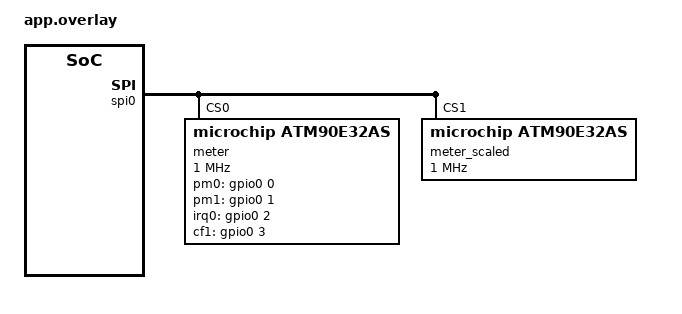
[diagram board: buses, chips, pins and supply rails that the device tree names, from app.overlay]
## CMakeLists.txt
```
# Copyright (c) 2025 Pedro Ramos
# SPDX-License-Identifier: Apache-2.0

cmake_minimum_required(VERSION 3.28.0)
find_package(Zephyr REQUIRED HINTS $ENV{ZEPHYR_BASE})
project(atm90e32as)

target_sources(app PRIVATE src/main.c)
```

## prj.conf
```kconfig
CONFIG_ZTEST=y
CONFIG_EMUL=y
CONFIG_GPIO=y
CONFIG_SPI=y
CONFIG_ENERGY_METER=y
CONFIG_LOG=y
```

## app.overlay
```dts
/*
 * Copyright (c) 2025 Pedro Ramos
 *
 * SPDX-License-Identifier: Apache-2.0
 */

#include <zephyr/dt-bindings/gpio/gpio.h>

&spi0 {
	meter: atm90e32as@0 {
		compatible = "microchip,atm90e32as";
		reg = <0>;
		spi-max-frequency = <1000000>;
		meter-constant = <3200>;
		mmode0 = <0x0185>;
		f0 = <6000>;
		p-start-th = <0x0123>;
		u-gain = <0x8000 0x7000 0x6000>;
		i-gain = <0x8000 0x8000 0x4000>;
		emm-int-en = <0x0001 0x0002>;
		pm0-gpios = <&gpio0 0 GPIO_ACTIVE_HIGH>;
		pm1-gpios = <&gpio0 1 GPIO_ACTIVE_HIGH>;
		irq0-gpios = <&gpio0 2 GPIO_ACTIVE_HIGH>;
		cf1-gpios = <&gpio0 3 GPIO_ACTIVE_HIGH>;
	};

	/* Calibrated to read 40% of the actual current */
	meter_scaled: atm90e32as@1 {
		compatible = "microchip,atm90e32as";
		reg = <1>;
		spi-max-frequency = <1000000>;
		current-scale = <5 2>;
	};
};
```

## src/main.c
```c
/*
 * Copyright (c) 2025 Pedro Ramos
 *
 * SPDX-License-Identifier: Apache-2.0
 */

#include <string.h>

#include <zephyr/device.h>
#include <zephyr/drivers/emul.h>
#include <zephyr/drivers/energy_meter.h>
#include <zephyr/drivers/energy_meter/atm90e32as.h>
#include <zephyr/drivers/gpio.h>
#include <zephyr/drivers/gpio/gpio_emul.h>
#include <zephyr/pm/device.h>
#include <zephyr/ztest.h>

#ifdef CONFIG_SHELL_BACKEND_DUMMY
#include <zephyr/shell/shell.h>
#include <zephyr/shell/shell_dummy.h>
#endif

#include "atm90e32as.h"
#include "emul_atm90e32as.h"

#define METER_NODE DT_NODELABEL(meter)
#define GPIO_NODE  DT_NODELABEL(gpio0)

#define PM0_PIN  DT_GPIO_PIN(METER_NODE, pm0_gpios)
#define PM1_PIN  DT_GPIO_PIN(METER_NODE, pm1_gpios)
#define IRQ0_PIN DT_GPIO_PIN(METER_NODE, irq0_gpios)
#define CF1_PIN  DT_GPIO_PIN(METER_NODE, cf1_gpios)

#define LINE_A     ENERGY_METER_LINE_A
#define LINE_B     ENERGY_METER_LINE_B
#define LINE_C     ENERGY_METER_LINE_C
#define LINE_N     ENERGY_METER_LINE_N
#define LINE_TOTAL ENERGY_METER_LINE_TOTAL

static const struct device *const meter = DEVICE_DT_GET(METER_NODE);
static const struct emul *const emul = EMUL_DT_GET(METER_NODE);

static int64_t get(uint8_t quantity, uint8_t line)
{
	int64_t value;

	zassert_ok(energy_meter_get_one(meter, quantity, line, &value), "quantity %u line %u",
		   quantity, line);

	return value;
}

ZTEST(atm90e32as, test_init_applies_devicetree)
{
	zassert_true(atm90e32as_emul_reset_count(emul) >= 1U, "no soft reset at init");
	zassert_equal(atm90e32as_emul_get_reg(emul, ATM90E32AS_REG_MMODE0), 0x0185);
	zassert_equal(atm90e32as_emul_get_reg(emul, ATM90E32AS_REG_F0), 6000);
	zassert_equal(atm90e32as_emul_get_reg(emul, ATM90E32AS_REG_T0), 25);
	zassert_equal(atm90e32as_emul_get_reg(emul, ATM90E32AS_REG_P_START_TH), 0x0123);
	zassert_equal(atm90e32as_emul_get_reg(emul, ATM90E32AS_REG_PL_CONST_H), 0x0861);
	zassert_equal(atm90e32as_emul_get_reg(emul, ATM90E32AS_REG_PL_CONST_L), 0xC468);
	zassert_equal(atm90e32as_emul_get_reg(emul, ATM90E32AS_REG_U_GAIN_A), 0x8000);
	zassert_equal(
		atm90e32as_emul_get_reg(emul, ATM90E32AS_REG_U_GAIN_A + ATM90E32AS_MEAS_CAL_STRIDE),
		0x7000);
	zassert_equal(atm90e32as_emul_get_reg(emul, ATM90E32AS_REG_I_GAIN_A +
							    2 * ATM90E32AS_MEAS_CAL_STRIDE),
		      0x4000);
	zassert_equal(atm90e32as_emul_get_reg(emul, ATM90E32AS_REG_EMM_INT_EN0), 0x0001);
	zassert_equal(atm90e32as_emul_get_reg(emul, ATM90E32AS_REG_EMM_INT_EN1), 0x0002);
	zassert_equal(atm90e32as_emul_get_reg(emul, ATM90E32AS_REG_METER_EN),
		      ATM90E32AS_METER_EN_ON, "metering not enabled");
	zassert_equal(atm90e32as_emul_get_reg(emul, ATM90E32AS_REG_CFG_REG_ACC_EN),
		      ATM90E32AS_CFG_ACCESS_DISABLE, "configuration access left open");
}

ZTEST(atm90e32as, test_info)
{
	struct energy_meter_info info;

	zassert_ok(energy_meter_get_info(meter, &info));
	zassert_equal(info.phases, 3);

	for (uint8_t line = LINE_A; line <= LINE_C; line++) {
		zassert_true((info.quantities[line] & BIT(ENERGY_METER_VOLTAGE)) != 0U);
		zassert_true((info.quantities[line] & BIT(ENERGY_METER_PHASE_ANGLE)) != 0U);
		zassert_true((info.quantities[line] & BIT(ENERGY_METER_APPARENT_ENERGY)) != 0U);
	}

	zassert_equal(info.quantities[LINE_N], BIT(ENERGY_METER_CURRENT));
	zassert_true((info.quantities[LINE_TOTAL] & BIT(ENERGY_METER_FREQUENCY)) != 0U);
	zassert_true((info.quantities[LINE_TOTAL] & BIT(ENERGY_METER_TEMPERATURE)) != 0U);
	zassert_true((info.quantities[LINE_TOTAL] & BIT(ENERGY_METER_VOLTAGE)) == 0U);
	zassert_true((info.quantities[LINE_A] & BIT(ENERGY_METER_VOLTAGE_LL)) == 0U);
}

ZTEST(atm90e32as, test_rms_voltage_and_current)
{
	/* 230.12 V plus 0x80 / 256 of 0.01 V */
	atm90e32as_emul_set_reg(emul, ATM90E32AS_REG_URMS_A, 23012);
	atm90e32as_emul_set_reg(emul, ATM90E32AS_REG_URMS_A_LSB, 0x8000);
	zassert_equal(get(ENERGY_METER_VOLTAGE, LINE_A), 230125000);

	atm90e32as_emul_set_reg(emul, ATM90E32AS_REG_URMS_A + 2, 21000);
	atm90e32as_emul_set_reg(emul, ATM90E32AS_REG_URMS_A_LSB + 2, 0);
	zassert_equal(get(ENERGY_METER_VOLTAGE, LINE_C), 210000000);

	/* 5.123 A plus 0x40 / 256 of 0.001 A */
	atm90e32as_emul_set_reg(emul, ATM90E32AS_REG_IRMS_A + 1, 5123);
	atm90e32as_emul_set_reg(emul, ATM90E32AS_REG_IRMS_A_LSB + 1, 0x4000);
	zassert_equal(get(ENERGY_METER_CURRENT, LINE_B), 5123250);

	/* The neutral current has no lower word */
	atm90e32as_emul_set_reg(emul, ATM90E32AS_REG_IRMS_N, 1500);
	zassert_equal(get(ENERGY_METER_CURRENT, LINE_N), 1500000);
}

ZTEST(atm90e32as, test_power_is_signed_32_bit)
{
	/* 0x00010000 * 0.00032 W */
	atm90e32as_emul_set_reg(emul, ATM90E32AS_REG_PMEAN_T, 0x0001);
	atm90e32as_emul_set_reg(emul, ATM90E32AS_REG_PMEAN_T_LSB, 0x0000);
	zassert_equal(get(ENERGY_METER_ACTIVE_POWER, LINE_TOTAL), 20971520);

	/* -10000 * 0.00032 var */
	atm90e32as_emul_set_reg(emul, ATM90E32AS_REG_QMEAN_T + 1, 0xFFFF);
	atm90e32as_emul_set_reg(emul, ATM90E32AS_REG_QMEAN_T_LSB + 1, 0xD8F0);
	zassert_equal(get(ENERGY_METER_REACTIVE_POWER, LINE_A), -3200000);

	atm90e32as_emul_set_reg(emul, ATM90E32AS_REG_PMEAN_TH + 3, 0x0000);
	atm90e32as_emul_set_reg(emul, ATM90E32AS_REG_PMEAN_TH_LSB + 3, 1000);
	zassert_equal(get(ENERGY_METER_ATM90E32AS_HARM_POWER, LINE_C), 320000);
}

ZTEST(atm90e32as, test_power_factor_angle_frequency_temperature)
{
	int64_t value;

	atm90e32as_emul_set_reg(emul, ATM90E32AS_REG_PFMEAN_T, (uint16_t)-1000);
	zassert_equal(get(ENERGY_METER_POWER_FACTOR, LINE_TOTAL), -1000000);

	atm90e32as_emul_set_reg(emul, ATM90E32AS_REG_PFMEAN_T + 1, 500);
	zassert_equal(get(ENERGY_METER_POWER_FACTOR, LINE_A), 500000);

	/* The chip reports 0 to 360 degrees; the API wants -180 to 180 */
	atm90e32as_emul_set_reg(emul, ATM90E32AS_REG_PANGLE_A + 1, 3599);
	zassert_equal(get(ENERGY_METER_PHASE_ANGLE, LINE_B), -100000);
	atm90e32as_emul_set_reg(emul, ATM90E32AS_REG_PANGLE_A + 1, 1800);
	zassert_equal(get(ENERGY_METER_PHASE_ANGLE, LINE_B), 180000000);
	atm90e32as_emul_set_reg(emul, ATM90E32AS_REG_PANGLE_A + 1, 1801);
	zassert_equal(get(ENERGY_METER_PHASE_ANGLE, LINE_B), -179900000);
	atm90e32as_emul_set_reg(emul, ATM90E32AS_REG_PANGLE_A, 3600);
	zassert_equal(get(ENERGY_METER_PHASE_ANGLE, LINE_A), 0);

	atm90e32as_emul_set_reg(emul, ATM90E32AS_REG_UANGLE_A + 2, 2400);
	zassert_equal(get(ENERGY_METER_VOLTAGE_ANGLE, LINE_C), 240000000);
	atm90e32as_emul_set_reg(emul, ATM90E32AS_REG_UANGLE_A + 2, 3600);
	zassert_equal(get(ENERGY_METER_VOLTAGE_ANGLE, LINE_C), 0);

	atm90e32as_emul_set_reg(emul, ATM90E32AS_REG_FREQ, 5002);
	zassert_equal(get(ENERGY_METER_FREQUENCY, LINE_TOTAL), 50020000);

	atm90e32as_emul_set_reg(emul, ATM90E32AS_REG_TEMP, (uint16_t)-5);
	zassert_equal(get(ENERGY_METER_TEMPERATURE, LINE_TOTAL), -5000000);

	/* Before the first measurement after a reset */
	atm90e32as_emul_set_reg(emul, ATM90E32AS_REG_TEMP, 0xFF00);
	zassert_equal(energy_meter_get_one(meter, ENERGY_METER_TEMPERATURE, LINE_TOTAL, &value),
		      -EAGAIN);
	atm90e32as_emul_set_reg(emul, ATM90E32AS_REG_TEMP, 25);
	zassert_equal(get(ENERGY_METER_TEMPERATURE, LINE_TOTAL), 25000000);
}

ZTEST(atm90e32as, test_peaks_use_devicetree_gains)
{
	/* 8125 * 0x7000 / (100 * 2^13) V */
	atm90e32as_emul_set_reg(emul, ATM90E32AS_REG_UPEAK_A + 1, 8125);
	zassert_equal(get(ENERGY_METER_ATM90E32AS_VOLTAGE_PEAK, LINE_B), 284375000);

	/* 4096 * 0x4000 / (1000 * 2^13) A */
	atm90e32as_emul_set_reg(emul, ATM90E32AS_REG_IPEAK_A + 2, 4096);
	zassert_equal(get(ENERGY_METER_ATM90E32AS_CURRENT_PEAK, LINE_C), 8192000);
}

ZTEST(atm90e32as, test_energy_accumulates_across_reads)
{
	int64_t before = get(ENERGY_METER_ACTIVE_ENERGY_IMPORT, LINE_TOTAL);

	/* 3200 counts of 0.01 CF at 3200 imp/kWh is 10 Wh */
	atm90e32as_emul_set_reg(emul, ATM90E32AS_REG_AP_ENERGY_T, 3200);
	zassert_equal(get(ENERGY_METER_ACTIVE_ENERGY_IMPORT, LINE_TOTAL) - before, 10000000);
	zassert_equal(atm90e32as_emul_get_reg(emul, ATM90E32AS_REG_AP_ENERGY_T), 0,
		      "energy register not cleared by the read");

	atm90e32as_emul_set_reg(emul, ATM90E32AS_REG_AP_ENERGY_T, 160);
	zassert_equal(get(ENERGY_METER_ACTIVE_ENERGY_IMPORT, LINE_TOTAL) - before, 10500000);

	/* A read with nothing new keeps the total */
	zassert_equal(get(ENERGY_METER_ACTIVE_ENERGY_IMPORT, LINE_TOTAL) - before, 10500000);
}

ZTEST(atm90e32as, test_every_energy_value_has_its_own_register)
{
	static const uint8_t lines[] = {LINE_TOTAL, LINE_A, LINE_B, LINE_C};
	int64_t before[ARRAY_SIZE(lines)];

	for (size_t i = 0; i < ARRAY_SIZE(lines); i++) {
		before[i] = get(ENERGY_METER_ATM90E32AS_HARM_ENERGY_EXPORT, lines[i]);
		atm90e32as_emul_set_reg(emul, ATM90E32AS_REG_AN_ENERGY_TH + i, 320 * (i + 1));
	}

	for (size_t i = 0; i < ARRAY_SIZE(lines); i++) {
		zassert_equal(get(ENERGY_METER_ATM90E32AS_HARM_ENERGY_EXPORT, lines[i]) - before[i],
			      1000000 * (i + 1));
	}
}

ZTEST(atm90e32as, test_batch_and_unsupported_channels)
{
	static const struct energy_meter_channel channels[] = {
		{ENERGY_METER_VOLTAGE, LINE_A},
		{ENERGY_METER_FREQUENCY, LINE_TOTAL},
	};
	static const struct energy_meter_channel bad[] = {
		{ENERGY_METER_VOLTAGE, LINE_A},
		{ENERGY_METER_VOLTAGE, LINE_N},
	};
	int64_t values[2] = {-1, -1};

	atm90e32as_emul_set_reg(emul, ATM90E32AS_REG_URMS_A, 22000);
	atm90e32as_emul_set_reg(emul, ATM90E32AS_REG_URMS_A_LSB, 0);
	atm90e32as_emul_set_reg(emul, ATM90E32AS_REG_FREQ, 6000);

	zassert_ok(energy_meter_get(meter, channels, values, ARRAY_SIZE(channels)));
	zassert_equal(values[0], 220000000);
	zassert_equal(values[1], 60000000);

	values[0] = -1;
	zassert_equal(energy_meter_get(meter, bad, values, ARRAY_SIZE(bad)), -ENOTSUP);
	zassert_equal(values[0], -1, "no value is read when a channel is not supported");
	zassert_equal(energy_meter_get_one(meter, ENERGY_METER_VOLTAGE_LL, LINE_A, &values[0]),
		      -ENOTSUP);
	zassert_equal(energy_meter_get_one(meter, ENERGY_METER_ATM90E32AS_QUANTITY_COUNT,
					   LINE_TOTAL, &values[0]),
		      -ENOTSUP);
}

ZTEST(atm90e32as, test_snapshot)
{
	struct energy_meter_snapshot snap;

	atm90e32as_emul_set_reg(emul, ATM90E32AS_REG_URMS_A + 1, 23100);
	atm90e32as_emul_set_reg(emul, ATM90E32AS_REG_URMS_A_LSB + 1, 0);
	atm90e32as_emul_set_reg(emul, ATM90E32AS_REG_FREQ, 4998);

	zassert_ok(energy_meter_get_snapshot(meter, &snap));
	zassert_equal(snap.phases, 3);
	zassert_equal(snap.line[LINE_B].voltage, 231000000);
	zassert_equal(snap.line[LINE_TOTAL].frequency, 49980000);
	zassert_equal(snap.valid[LINE_N], BIT(ENERGY_METER_CURRENT));
}

ZTEST(atm90e32as, test_reset_energy)
{
	atm90e32as_emul_set_reg(emul, ATM90E32AS_REG_AP_ENERGY_T + 2, 320);
	zassert_true(get(ENERGY_METER_ACTIVE_ENERGY_IMPORT, LINE_B) > 0);

	/* Energy the chip has not reported yet is dropped too */
	atm90e32as_emul_set_reg(emul, ATM90E32AS_REG_AP_ENERGY_T + 2, 640);
	zassert_ok(energy_meter_reset_energy(meter));
	zassert_equal(atm90e32as_emul_get_reg(emul, ATM90E32AS_REG_AP_ENERGY_T + 2), 0);
	zassert_equal(get(ENERGY_METER_ACTIVE_ENERGY_IMPORT, LINE_B), 0);
}

ZTEST(atm90e32as, test_interrupt_status_is_cleared)
{
	atm90e32as_emul_set_reg(emul, ATM90E32AS_REG_EMM_INT_STATE0, 0x8001);
	atm90e32as_emul_set_reg(emul, ATM90E32AS_REG_EMM_INT_STATE1, 0x0002);

	/* The state registers are read without side effects */
	(void)get(ENERGY_METER_ATM90E32AS_EMM_STATE, LINE_TOTAL);
	zassert_equal(atm90e32as_emul_get_reg(emul, ATM90E32AS_REG_EMM_INT_STATE0), 0x8001);

	zassert_equal(get(ENERGY_METER_ATM90E32AS_EMM_INT_STATE, LINE_TOTAL), 0x80010002);
	zassert_equal(atm90e32as_emul_get_reg(emul, ATM90E32AS_REG_EMM_INT_STATE0), 0);
	zassert_equal(atm90e32as_emul_get_reg(emul, ATM90E32AS_REG_EMM_INT_STATE1), 0);
}

ZTEST(atm90e32as, test_corrupted_read_keeps_energy)
{
	int64_t before = get(ENERGY_METER_ACTIVE_ENERGY_IMPORT, LINE_A);
	int64_t value;

	Z_TEST_SKIP_IFNDEF(CONFIG_ATM90E32AS_VERIFY_READ);

	atm90e32as_emul_set_reg(emul, ATM90E32AS_REG_AP_ENERGY_T + 1, 320);
	atm90e32as_emul_corrupt_reads(emul, 1);
	zassert_equal(get(ENERGY_METER_ACTIVE_ENERGY_IMPORT, LINE_A) - before, 1000000);

	/* With every copy corrupted the read fails instead of returning garbage */
	atm90e32as_emul_corrupt_reads(emul, 3);
	zassert_equal(energy_meter_get_one(meter, ENERGY_METER_FREQUENCY, LINE_TOTAL, &value),
		      -EIO);
}

ZTEST(atm90e32as, test_pm_suspend_resume)
{
	const struct device *gpio = DEVICE_DT_GET(GPIO_NODE);
	int64_t before = get(ENERGY_METER_ACTIVE_ENERGY_IMPORT, LINE_C);
	int64_t value;
	uint32_t resets;

	Z_TEST_SKIP_IFNDEF(CONFIG_PM_DEVICE);

	zassert_equal(gpio_emul_output_get(gpio, PM0_PIN), 1);
	zassert_equal(gpio_emul_output_get(gpio, PM1_PIN), 1);

	/* Energy counted before Idle mode must survive the reset that leaving it causes */
	atm90e32as_emul_set_reg(emul, ATM90E32AS_REG_AP_ENERGY_T + 3, 640);
	zassert_ok(pm_device_action_run(meter, PM_DEVICE_ACTION_SUSPEND));
	zassert_equal(gpio_emul_output_get(gpio, PM0_PIN), 0);
	zassert_equal(gpio_emul_output_get(gpio, PM1_PIN), 0);

	zassert_equal(energy_meter_get_one(meter, ENERGY_METER_VOLTAGE, LINE_A, &value), -EBUSY);
	zassert_equal(energy_meter_reset_energy(meter), -EBUSY);

	/* Model the power-on reset of the chip */
	atm90e32as_emul_reset(emul);
	resets = atm90e32as_emul_reset_count(emul);

	zassert_ok(pm_device_action_run(meter, PM_DEVICE_ACTION_RESUME));
	zassert_equal(gpio_emul_output_get(gpio, PM0_PIN), 1);
	zassert_equal(gpio_emul_output_get(gpio, PM1_PIN), 1);
	zassert_true(atm90e32as_emul_reset_count(emul) > resets);
	zassert_equal(atm90e32as_emul_get_reg(emul, ATM90E32AS_REG_MMODE0), 0x0185,
		      "configuration not restored on resume");
	zassert_equal(get(ENERGY_METER_ACTIVE_ENERGY_IMPORT, LINE_C) - before, 2000000);
}

ZTEST(atm90e32as, test_resume_fails_without_chip)
{
	Z_TEST_SKIP_IFNDEF(CONFIG_PM_DEVICE);

	zassert_ok(pm_device_action_run(meter, PM_DEVICE_ACTION_SUSPEND));

	atm90e32as_emul_set_present(emul, false);
	zassert_equal(pm_device_action_run(meter, PM_DEVICE_ACTION_RESUME), -ENODEV);

	atm90e32as_emul_set_present(emul, true);
	zassert_ok(pm_device_action_run(meter, PM_DEVICE_ACTION_RESUME));
}

ZTEST(atm90e32as, test_write_retries)
{
	Z_TEST_SKIP_IFNDEF(CONFIG_PM_DEVICE);

	/* Two dropped writes are recovered by retrying */
	zassert_ok(pm_device_action_run(meter, PM_DEVICE_ACTION_SUSPEND));
	atm90e32as_emul_drop_writes(emul, 2);
	zassert_ok(pm_device_action_run(meter, PM_DEVICE_ACTION_RESUME));
	zassert_equal(atm90e32as_emul_get_reg(emul, ATM90E32AS_REG_MMODE0), 0x0185);

	/*
	 * The unverified soft reset takes the first dropped write; the next three exhaust the
	 * retries of the first verified write.
	 */
	zassert_ok(pm_device_action_run(meter, PM_DEVICE_ACTION_SUSPEND));
	atm90e32as_emul_drop_writes(emul, 4);
	zassert_equal(pm_device_action_run(meter, PM_DEVICE_ACTION_RESUME), -EIO);
	zassert_ok(pm_device_action_run(meter, PM_DEVICE_ACTION_RESUME));
}

ZTEST(atm90e32as, test_current_scale)
{
	const struct device *scaled = DEVICE_DT_GET(DT_NODELABEL(meter_scaled));
	const struct emul *scaled_emul = EMUL_DT_GET(DT_NODELABEL(meter_scaled));
	int64_t before;
	int64_t value;

	/* 60 A read by the chip is 150 A at a 5/2 ratio, beyond the 65.535 A register range */
	atm90e32as_emul_set_reg(scaled_emul, ATM90E32AS_REG_IRMS_A, 60000);
	atm90e32as_emul_set_reg(scaled_emul, ATM90E32AS_REG_IRMS_A_LSB, 0);
	zassert_ok(energy_meter_get_one(scaled, ENERGY_METER_CURRENT, LINE_A, &value));
	zassert_equal(value, 150000000);

	atm90e32as_emul_set_reg(scaled_emul, ATM90E32AS_REG_IRMS_A + 1, 5123);
	atm90e32as_emul_set_reg(scaled_emul, ATM90E32AS_REG_IRMS_A_LSB + 1, 0);
	zassert_ok(energy_meter_get_one(scaled, ENERGY_METER_CURRENT, LINE_B, &value));
	zassert_equal(value, 12807500);

	/* Power follows the current, including negative values */
	atm90e32as_emul_set_reg(scaled_emul, ATM90E32AS_REG_PMEAN_T, 0x0001);
	atm90e32as_emul_set_reg(scaled_emul, ATM90E32AS_REG_PMEAN_T_LSB, 0x0000);
	zassert_ok(energy_meter_get_one(scaled, ENERGY_METER_ACTIVE_POWER, LINE_TOTAL, &value));
	zassert_equal(value, 52428800);

	atm90e32as_emul_set_reg(scaled_emul, ATM90E32AS_REG_QMEAN_T + 1, 0xFFFF);
	atm90e32as_emul_set_reg(scaled_emul, ATM90E32AS_REG_QMEAN_T_LSB + 1, 0xD8F0);
	zassert_ok(energy_meter_get_one(scaled, ENERGY_METER_REACTIVE_POWER, LINE_A, &value));
	zassert_equal(value, -8000000);

	/* 4096 * 0x8000 / (1000 * 2^13) A, times 5/2 */
	atm90e32as_emul_set_reg(scaled_emul, ATM90E32AS_REG_IPEAK_A, 4096);
	zassert_ok(
		energy_meter_get_one(scaled, ENERGY_METER_ATM90E32AS_CURRENT_PEAK, LINE_A, &value));
	zassert_equal(value, 40960000);

	/* 10 Wh counted by the chip is 25 Wh */
	zassert_ok(energy_meter_get_one(scaled, ENERGY_METER_ACTIVE_ENERGY_IMPORT, LINE_TOTAL,
					&before));
	atm90e32as_emul_set_reg(scaled_emul, ATM90E32AS_REG_AP_ENERGY_T, 3200);
	zassert_ok(energy_meter_get_one(scaled, ENERGY_METER_ACTIVE_ENERGY_IMPORT, LINE_TOTAL,
					&value));
	zassert_equal(value - before, 25000000);

	/* Voltage and power factor do not depend on the current calibration */
	atm90e32as_emul_set_reg(scaled_emul, ATM90E32AS_REG_URMS_A, 23012);
	atm90e32as_emul_set_reg(scaled_emul, ATM90E32AS_REG_URMS_A_LSB, 0);
	zassert_ok(energy_meter_get_one(scaled, ENERGY_METER_VOLTAGE, LINE_A, &value));
	zassert_equal(value, 230120000);

	atm90e32as_emul_set_reg(scaled_emul, ATM90E32AS_REG_PFMEAN_T, 985);
	zassert_ok(energy_meter_get_one(scaled, ENERGY_METER_POWER_FACTOR, LINE_TOTAL, &value));
	zassert_equal(value, 985000);
}

struct event_record {
	struct k_sem sem;
	const struct device *dev;
	struct energy_meter_event event;
};

static void event_cb(const struct device *dev, const struct energy_meter_event *event,
		     void *user_data)
{
	struct event_record *rec = user_data;

	rec->dev = dev;
	rec->event = *event;
	k_sem_give(&rec->sem);
}

static void pulse(const struct device *gpio, gpio_pin_t pin)
{
	zassert_ok(gpio_emul_input_set(gpio, pin, 0));
	zassert_ok(gpio_emul_input_set(gpio, pin, 1));
	zassert_ok(gpio_emul_input_set(gpio, pin, 0));
}

ZTEST(atm90e32as, test_events)
{
	const struct device *gpio = DEVICE_DT_GET(GPIO_NODE);
	static struct event_record rec;

	if (!IS_ENABLED(CONFIG_ATM90E32AS_EVENTS)) {
		zassert_equal(energy_meter_set_event_callback(meter, event_cb, &rec), -ENOSYS);
		ztest_test_skip();
	}

	k_sem_init(&rec.sem, 0, 1);
	zassert_ok(energy_meter_set_event_callback(meter, event_cb, &rec));

	pulse(gpio, IRQ0_PIN);
	zassert_ok(k_sem_take(&rec.sem, K_MSEC(100)), "IRQ0 event not reported");
	zassert_equal_ptr(rec.dev, meter);
	zassert_equal(rec.event.type, ENERGY_METER_EVENT_ALARM);
	zassert_equal(rec.event.index, 0);

	pulse(gpio, CF1_PIN);
	zassert_ok(k_sem_take(&rec.sem, K_MSEC(100)), "CF1 event not reported");
	zassert_equal(rec.event.type, ENERGY_METER_EVENT_PULSE);
	zassert_equal(rec.event.index, 0);

	/* A NULL callback stops the events */
	zassert_ok(energy_meter_set_event_callback(meter, NULL, NULL));
	pulse(gpio, IRQ0_PIN);
	zassert_equal(k_sem_take(&rec.sem, K_MSEC(50)), -EAGAIN);
}

#ifdef CONFIG_SHELL_BACKEND_DUMMY
static const char *run(const char *cmd, int expected)
{
	const struct shell *sh = shell_backend_dummy_get_ptr();
	size_t size;

	WAIT_FOR(shell_ready(sh), 20000, k_msleep(1));
	shell_backend_dummy_clear_output(sh);
	zassert_equal(shell_execute_cmd(sh, cmd), expected, "%s", cmd);

	return shell_backend_dummy_get_output(sh, &size);
}
#endif

ZTEST(atm90e32as, test_register_shell)
{
	Z_TEST_SKIP_IFNDEF(CONFIG_ATM90E32AS_SHELL);

#ifdef CONFIG_ATM90E32AS_SHELL
	int64_t before = get(ENERGY_METER_ACTIVE_ENERGY_EXPORT, LINE_TOTAL);
	const char *out;

	out = run("atm90e32as read atm90e32as@0 0x33", 0);
	zassert_not_null(strstr(out, "0x33: 0x0185"), "%s", out);

	/* Configuration writes are unlocked and locked again around the write */
	run("atm90e32as write atm90e32as@0 0x33 0x0187", 0);
	zassert_equal(atm90e32as_emul_get_reg(emul, ATM90E32AS_REG_MMODE0), 0x0187);
	zassert_equal(atm90e32as_emul_get_reg(emul, ATM90E32AS_REG_CFG_REG_ACC_EN),
		      ATM90E32AS_CFG_ACCESS_DISABLE);
	run("atm90e32as write atm90e32as@0 0x33 0x0185", 0);

	/* An energy register read from the shell still reaches the driver total */
	atm90e32as_emul_set_reg(emul, ATM90E32AS_REG_AN_ENERGY_T, 320);
	out = run("atm90e32as read atm90e32as@0 0x84", 0);
	zassert_not_null(strstr(out, "0x84: 0x0140"), "%s", out);
	zassert_equal(get(ENERGY_METER_ACTIVE_ENERGY_EXPORT, LINE_TOTAL) - before, 1000000);

	out = run("atm90e32as read atm90e32as@0 0xfe 2", 0);
	zassert_not_null(strstr(out, "0xff:"), "%s", out);
	run("atm90e32as read atm90e32as@0 0xff 2", -EINVAL);
	run("atm90e32as write atm90e32as@0 0x33 0x10000", -EINVAL);
#endif
}

ZTEST(atm90e32as, test_energy_meter_shell)
{
	Z_TEST_SKIP_IFNDEF(CONFIG_ENERGY_METER_SHELL);

#ifdef CONFIG_ENERGY_METER_SHELL
	const char *out;

	atm90e32as_emul_set_reg(emul, ATM90E32AS_REG_URMS_A, 23012);
	atm90e32as_emul_set_reg(emul, ATM90E32AS_REG_URMS_A_LSB, 0x8000);

	out = run("energy_meter get atm90e32as@0", 0);
	zassert_not_null(strstr(out, "voltage [V]"), "%s", out);
	zassert_not_null(strstr(out, "230.125"), "%s", out);

	/* Device-specific quantities are read by number: 16 is the fundamental power */
	BUILD_ASSERT(ENERGY_METER_ATM90E32AS_FUND_POWER == 16);
	atm90e32as_emul_set_reg(emul, ATM90E32AS_REG_PMEAN_TF, 0);
	atm90e32as_emul_set_reg(emul, ATM90E32AS_REG_PMEAN_TF_LSB, 1000);
	out = run("energy_meter read atm90e32as@0 16", 0);
	zassert_not_null(strstr(out, "320000 (0x4e200)"), "%s", out);
#endif
}

static void *atm90e32as_setup(void)
{
	zassert_true(device_is_ready(meter), "ATM90E32AS not ready");

	return NULL;
}

ZTEST_SUITE(atm90e32as, NULL, atm90e32as_setup, NULL, NULL, NULL);
```
